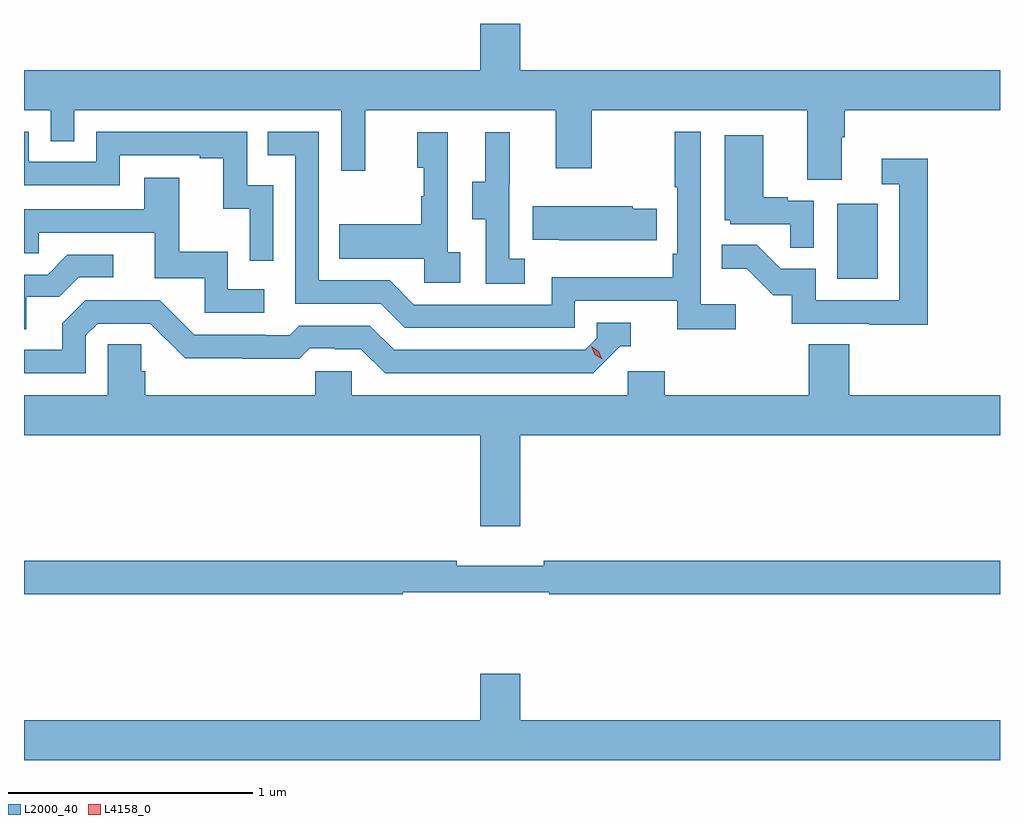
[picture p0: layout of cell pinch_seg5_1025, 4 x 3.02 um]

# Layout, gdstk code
import gdstk
lib = gdstk.Library(unit=1e-6, precision=1e-09)
def R(c, l, rs):  # rectangles x0, y0, x1, y1
    for r in rs: c.add(gdstk.rectangle(r[:2], r[2:], *l))
def P(c, l, *ps):  # polygons
    for p in ps: c.add(gdstk.Polygon(p, *l))
L2000_40 = (2000, 40)
L4158_0 = (4158, 0)

pinch_seg5_1025 = lib.new_cell('pinch_seg5_1025')
R(pinch_seg5_1025, L2000_40, [(873.764,861.396,873.928,861.703)])
P(pinch_seg5_1025, L2000_40, [(873.781,861.976),(873.794,861.976),(873.794,862.088),(874.43,862.088),(874.43,862.252),(872.464,862.252),(872.464,862.441),(872.3,862.441),(872.3,862.252),(870.43,862.252),(870.43,862.088),(870.54,862.088),(870.54,861.961),(870.636,861.961),(870.636,862.088),(871.731,862.088),(871.731,861.84),(871.829,861.84),(871.829,862.088),(872.609,862.088),(872.609,861.849),(872.757,861.849),(872.757,862.088),(873.641,862.088),(873.641,861.802),(873.781,861.802)],
  [(873.346,861.292),(873.204,861.292),(873.204,862),(873.096,862),(873.096,861.772),(873.108,861.772),(873.108,861.499),(873.088,861.499),(873.088,861.403),(872.592,861.403),(872.592,861.291),(872.028,861.291),(871.929,861.39),(871.638,861.39),(871.638,861.999),(871.429,861.999),(871.429,861.903),(871.542,861.903),(871.542,861.294),(871.892,861.294),(871.991,861.195),(872.688,861.195),(872.688,861.306),(873.107,861.306),(873.107,861.19),(873.346,861.19)],
  [(871.452,861.78),(871.344,861.78),(871.344,861.999),(870.726,861.999),(870.726,861.876),(870.45,861.876),(870.45,861.999),(870.43,861.999),(870.43,861.78),(870.822,861.78),(870.822,861.903),(871.151,861.903),(871.151,861.891),(871.247,861.891),(871.247,861.683),(871.356,861.683),(871.356,861.471),(871.452,861.471)],
  [(872.218,861.506),(872.166,861.506),(872.166,861.997),(872.042,861.997),(872.042,861.852),(872.068,861.852),(872.068,861.734),(872.058,861.734),(872.058,861.619),(871.723,861.619),(871.723,861.479),(872.07,861.479),(872.07,861.381),(872.218,861.381)],
  [(872.482,861.479),(872.418,861.479),(872.418,861.783),(872.42,861.783),(872.42,861.997),(872.321,861.997),(872.321,861.795),(872.267,861.795),(872.267,861.64),(872.322,861.64),(872.322,861.376),(872.482,861.376)],
  [(873.666,861.717),(873.56,861.717),(873.56,861.73),(873.46,861.73),(873.46,861.985),(873.302,861.985),(873.302,861.636),(873.324,861.636),(873.324,861.621),(873.571,861.621),(873.571,861.523),(873.666,861.523)],
  [(874.133,861.889),(873.945,861.889),(873.945,861.783),(874.017,861.783),(874.017,861.309),(873.675,861.309),(873.675,861.438),(873.531,861.438),(873.433,861.536),(873.289,861.536),(873.289,861.437),(873.393,861.437),(873.5,861.33),(873.577,861.33),(873.577,861.213),(873.895,861.213),(873.895,861.208),(874.133,861.208)],
  [(871.414,861.354),(871.266,861.354),(871.266,861.508),(871.067,861.508),(871.067,861.811),(870.923,861.811),(870.923,861.681),(870.43,861.681),(870.43,861.501),(870.491,861.501),(870.491,861.585),(870.965,861.585),(870.965,861.399),(871.17,861.399),(871.17,861.258),(871.414,861.258)],
  [(873.023,861.684),(872.925,861.684),(872.925,861.694),(872.515,861.694),(872.515,861.557),(872.623,861.557),(872.623,861.554),(873.023,861.554)],
  [(870.439,861.322),(870.574,861.322),(870.654,861.402),(870.796,861.402),(870.796,861.495),(870.608,861.495),(870.527,861.414),(870.43,861.414),(870.43,861.19),(870.439,861.19)],
  [(870.684,861.165),(870.732,861.213),(870.948,861.213),(871.09,861.071),(871.326,861.071),(871.326,861.069),(871.559,861.069),(871.601,861.111),(871.704,861.111),(871.704,861.108),(871.811,861.108),(871.91,861.009),(872.763,861.009),(872.874,861.12),(872.917,861.12),(872.917,861.216),(872.778,861.216),(872.778,861.153),(872.73,861.105),(871.947,861.105),(871.848,861.204),(871.559,861.204),(871.52,861.165),(871.421,861.165),(871.421,861.168),(871.128,861.168),(870.987,861.309),(870.681,861.309),(870.587,861.215),(870.587,861.105),(870.43,861.105),(870.43,861.009),(870.684,861.009)],
  [(873.647,861.128),(873.647,860.92),(873.056,860.92),(873.056,861.018),(872.904,861.018),(872.904,860.92),(871.773,860.92),(871.773,861.018),(871.623,861.018),(871.623,860.92),(870.926,860.92),(870.926,861.018),(870.911,861.018),(870.911,861.128),(870.774,861.128),(870.774,860.92),(870.43,860.92),(870.43,860.756),(872.3,860.756),(872.3,860.382),(872.464,860.382),(872.464,860.756),(874.43,860.756),(874.43,860.92),(873.812,860.92),(873.812,861.128)],
  [(871.982,860.112),(872.582,860.112),(872.582,860.104),(874.43,860.104),(874.43,860.24),(872.56,860.24),(872.56,860.221),(872.204,860.221),(872.204,860.24),(870.43,860.24),(870.43,860.104),(871.982,860.104)],
  [(874.43,859.588),(872.464,859.588),(872.464,859.777),(872.3,859.777),(872.3,859.588),(870.43,859.588),(870.43,859.424),(874.43,859.424)])
P(pinch_seg5_1025, L4158_0, [(872.8,861.066),(872.769,861.086),(872.754,861.119),(872.754,861.119),(872.754,861.119),(872.785,861.099),(872.8,861.066),(872.8,861.066)])

lib.write_gds('pinch_seg5_1025.gds')
